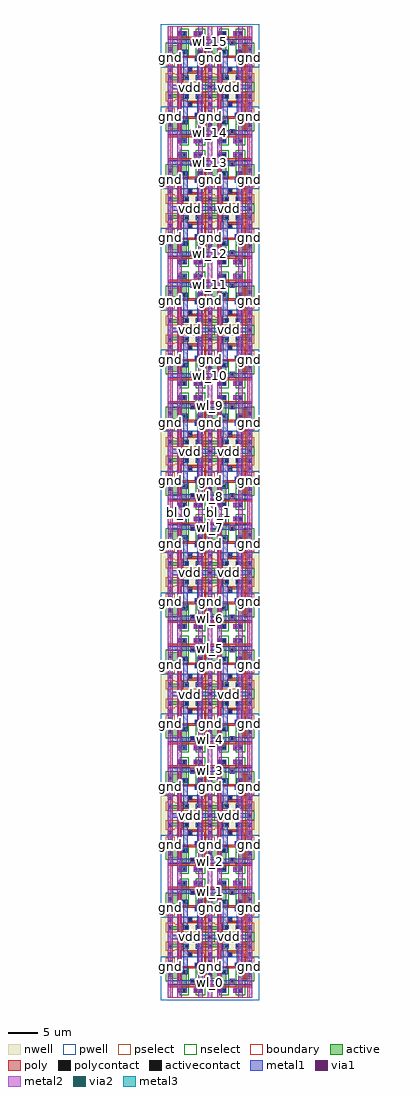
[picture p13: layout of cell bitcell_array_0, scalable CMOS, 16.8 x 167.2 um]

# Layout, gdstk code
import gdstk
lib = gdstk.Library(unit=1e-6, precision=1e-09)
def R(c, l, rs):  # rectangles x0, y0, x1, y1
    for r in rs: c.add(gdstk.rectangle(r[:2], r[2:], *l))
def A(c, l, x, y, w, h, nx, ny, dx, dy):  # array of equal rectangles
    R(c, l, [(x+i*dx, y+j*dy, x+i*dx+w, y+j*dy+h) for i in range(nx) for j in range(ny)])
pwell = (41, 0)
nwell = (42, 0)
active = (43, 0)
pselect = (44, 0)
nselect = (45, 0)
poly = (46, 0)
polycontact = (47, 0)
activecontact = (48, 0)
metal1 = (49, 0)
via1 = (50, 0)
metal2 = (51, 0)
via2 = (61, 0)
metal3 = (62, 0)
boundary = (63, 0)

cell_6t = lib.new_cell('cell_6t')
R(cell_6t, pwell, [(-1.6,-0.4,8.4,7)])
R(cell_6t, nwell, [(-1.6,7,8.4,11.4)])
A(cell_6t, active, 2.4, 8.4, 0.8, 0.2, 3, 1, 2, 0)
R(cell_6t, active, [(2,0.8,2.8,3.2), (4.8,0.8,5.6,3.2), (-0.4,3.2,2.8,4.8), (4.8,3.2,7.2,4.8), (-0.4,5.6,0.4,6.4), (6.4,5.6,7.2,6.4), (-0.4,8.4,0.4,8.6), (-0.4,8.6,3.2,9.2), (4.4,8.6,7.2,9.2), (6.4,10,7.2,10.8)])
R(cell_6t, pselect, [(-0.8,5.2,0.8,6.8), (6,5.2,7.6,6.8), (-0.8,8,0.8,8.2), (2,8,7.6,8.2), (-0.8,8.2,7.6,9.6)])
R(cell_6t, nselect, [(1.6,0.4,3.2,2.8), (4.4,0.4,6,2.8), (-0.8,2.8,3.2,5.2), (4.4,2.8,7.6,5.2), (6,9.6,7.6,11.2)])
R(cell_6t, poly, [(-0.4,1.8,7.2,2.2), (3.4,2.2,4.2,3.2), (1.4,2.8,1.8,5), (5.8,2.8,6.2,7.6), (1.4,5,4.8,5.2), (1.4,5.2,5,5.4), (1.4,5.4,1.8,8.2), (4.2,5.4,5,6), (3,7,3.8,7.6), (3,7.6,6.2,8), (5.4,8,6.2,9.6), (1.4,8.2,2.2,9.6)])
R(cell_6t, polycontact, [(3.6,2.6,4,3), (4.4,5.4,4.8,5.8), (3.2,7.2,3.6,7.6)])
A(cell_6t, activecontact, 2.6, 8.6, 0.4, 0.4, 3, 1, 2, 0)
R(cell_6t, activecontact, [(2.2,1,2.6,1.4), (5,1,5.4,1.4), (-0.2,3.8,0.2,4.2), (6.6,3.8,7,4.2), (2.2,4.2,2.6,4.6), (5,4.2,5.4,4.6), (-0.2,5.8,0.2,6.2), (6.6,5.8,7,6.2), (-0.2,8.6,0.2,9), (6.6,10.2,7,10.6)])
R(cell_6t, metal1, [(1.2,0.8,2.8,1.6), (4,0.8,5.6,1.6), (-0.4,2.2,7.2,3), (-0.4,2.2,7.2,3), (3.4,3,4.2,3.2), (-0.4,3.6,0.4,7.8), (6.4,3.6,7.2,7.8), (2,4,3,4.8), (4.6,4,5.6,4.8), (2.2,4.8,3,7), (4.6,4.8,5.4,5.2), (4.2,5.2,5.4,6), (4.6,6,5.4,8.4), (2.2,7,3.8,7.8), (2.2,7.8,3,8.4), (-0.4,8.4,0.4,10), (2.2,8.4,3.2,9.2), (4.4,8.4,5.4,9.2), (6.4,8.4,7.2,10), (-0.4,10,7.2,10.8)])
R(cell_6t, via1, [(1.4,1,1.8,1.4), (4.2,1,4.6,1.4), (-0.2,7.2,0.2,7.6), (6.6,7.2,7,7.6), (3.2,10.2,3.6,10.6)])
R(cell_6t, metal2, [(-0.4,0,0.4,10.8), (-0.4,0,0.4,10.8), (1.2,0,2,10.8), (1.2,0,2,10.8), (4.8,0,5.6,0.8), (6.4,0,7.2,10.8), (6.4,0,7.2,10.8), (4,0.8,5.6,1.6), (4.8,1.6,5.6,10.8), (4.8,1.6,5.6,10.8), (3,10,3.8,10.8), (3,10,3.8,10.8)])
R(cell_6t, boundary, [(0,0,6.8,10.4)])
cell_6t.add(gdstk.Label('gnd', (0,1.2), layer=51, texttype=0))
cell_6t.add(gdstk.Label('gnd', (6.8,1.2), layer=51, texttype=0))
cell_6t.add(gdstk.Label('vdd', (3.4,10.4), layer=51, texttype=0))
cell_6t.add(gdstk.Label('bl', (1.6,9.8), layer=51, texttype=0))
cell_6t.add(gdstk.Label('br', (5.2,9.8), layer=51, texttype=0))
cell_6t.add(gdstk.Label('wl', (0.8,2.6), layer=49, texttype=0))
cell_6t.add(gdstk.Label('bl', (1.6,5.4), layer=51, texttype=0))
cell_6t.add(gdstk.Label('br', (5.2,6.2), layer=51, texttype=0))
cell_6t.add(gdstk.Label('wl', (3.4,2.6), layer=49, texttype=0))
cell_6t.add(gdstk.Label('vdd', (3.4,10.4), layer=51, texttype=0))
cell_6t.add(gdstk.Label('gnd', (0,5.4), layer=51, texttype=0))
cell_6t.add(gdstk.Label('gnd', (6.8,5.4), layer=51, texttype=0))

contact_15 = lib.new_cell('contact_15')
R(contact_15, metal2, [(0,0,0.8,0.8)])
R(contact_15, via2, [(0.2,0.2,0.6,0.6)])
R(contact_15, metal3, [(0,0,0.8,0.8)])

bitcell_array_0 = lib.new_cell('bitcell_array_0')
R(bitcell_array_0, metal1, [(0,2.2,13.6,3), (0,17.8,13.6,18.6), (0,23,13.6,23.8), (0,38.6,13.6,39.4), (0,43.8,13.6,44.6), (0,59.4,13.6,60.2), (0,64.6,13.6,65.4), (0,80.2,13.6,81), (0,85.4,13.6,86.2), (0,101,13.6,101.8), (0,106.2,13.6,107), (0,121.8,13.6,122.6), (0,127,13.6,127.8), (0,142.6,13.6,143.4), (0,147.8,13.6,148.6), (0,163.4,13.6,164.2)])
R(bitcell_array_0, metal2, [(1.2,0,2,166.4), (4.8,0,5.6,166.4), (8,0,8.8,166.4), (11.6,0,12.4,166.4)])
A(bitcell_array_0, metal3, -0.4, 5, 0.8, 0.8, 3, 2, 6.8, 10)
A(bitcell_array_0, metal3, 3, 10, 0.8, 0.8, 1, 3, 0, 20.8)
A(bitcell_array_0, metal3, 9.8, 10, 0.8, 0.8, 1, 3, 0, 20.8)
A(bitcell_array_0, metal3, -0.4, 25.8, 0.8, 0.8, 3, 2, 6.8, 10)
A(bitcell_array_0, metal3, -0.4, 46.6, 0.8, 0.8, 3, 2, 6.8, 10)
A(bitcell_array_0, metal3, 3, 51.6, 0.8, 0.8, 1, 5, 0, 20.8)
A(bitcell_array_0, metal3, 9.8, 51.6, 0.8, 0.8, 1, 5, 0, 20.8)
A(bitcell_array_0, metal3, -0.4, 67.4, 0.8, 0.8, 3, 2, 6.8, 10)
A(bitcell_array_0, metal3, -0.4, 88.2, 0.8, 0.8, 3, 2, 6.8, 10)
A(bitcell_array_0, metal3, -0.4, 109, 0.8, 0.8, 3, 2, 6.8, 10)
A(bitcell_array_0, metal3, -0.4, 129.8, 0.8, 0.8, 3, 2, 6.8, 10)
A(bitcell_array_0, metal3, -0.4, 150.6, 0.8, 0.8, 3, 2, 6.8, 10)
R(bitcell_array_0, metal3, [(3,134.8,3.8,135.6), (9.8,134.8,10.6,135.6), (3,155.6,3.8,156.4), (9.8,155.6,10.6,156.4)])
R(bitcell_array_0, boundary, [(0,0,13.6,166.4)])
bitcell_array_0.add(gdstk.Reference(cell_6t, (0,0)))
bitcell_array_0.add(gdstk.Reference(cell_6t, (0,20.8), x_reflection=True))
bitcell_array_0.add(gdstk.Reference(cell_6t, (0,20.8)))
bitcell_array_0.add(gdstk.Reference(cell_6t, (0,41.6), x_reflection=True))
bitcell_array_0.add(gdstk.Reference(cell_6t, (0,41.6)))
bitcell_array_0.add(gdstk.Reference(cell_6t, (0,62.4), x_reflection=True))
bitcell_array_0.add(gdstk.Reference(cell_6t, (0,62.4)))
bitcell_array_0.add(gdstk.Reference(cell_6t, (0,83.2), x_reflection=True))
bitcell_array_0.add(gdstk.Reference(cell_6t, (0,83.2)))
bitcell_array_0.add(gdstk.Reference(cell_6t, (0,104), x_reflection=True))
bitcell_array_0.add(gdstk.Reference(cell_6t, (0,104)))
bitcell_array_0.add(gdstk.Reference(cell_6t, (0,124.8), x_reflection=True))
bitcell_array_0.add(gdstk.Reference(cell_6t, (0,124.8)))
bitcell_array_0.add(gdstk.Reference(cell_6t, (0,145.6), x_reflection=True))
bitcell_array_0.add(gdstk.Reference(cell_6t, (0,145.6)))
bitcell_array_0.add(gdstk.Reference(cell_6t, (0,166.4), x_reflection=True))
bitcell_array_0.add(gdstk.Reference(cell_6t, (6.8,0)))
bitcell_array_0.add(gdstk.Reference(cell_6t, (6.8,20.8), x_reflection=True))
bitcell_array_0.add(gdstk.Reference(cell_6t, (6.8,20.8)))
bitcell_array_0.add(gdstk.Reference(cell_6t, (6.8,41.6), x_reflection=True))
bitcell_array_0.add(gdstk.Reference(cell_6t, (6.8,41.6)))
bitcell_array_0.add(gdstk.Reference(cell_6t, (6.8,62.4), x_reflection=True))
bitcell_array_0.add(gdstk.Reference(cell_6t, (6.8,62.4)))
bitcell_array_0.add(gdstk.Reference(cell_6t, (6.8,83.2), x_reflection=True))
bitcell_array_0.add(gdstk.Reference(cell_6t, (6.8,83.2)))
bitcell_array_0.add(gdstk.Reference(cell_6t, (6.8,104), x_reflection=True))
bitcell_array_0.add(gdstk.Reference(cell_6t, (6.8,104)))
bitcell_array_0.add(gdstk.Reference(cell_6t, (6.8,124.8), x_reflection=True))
bitcell_array_0.add(gdstk.Reference(cell_6t, (6.8,124.8)))
bitcell_array_0.add(gdstk.Reference(cell_6t, (6.8,145.6), x_reflection=True))
bitcell_array_0.add(gdstk.Reference(cell_6t, (6.8,145.6)))
bitcell_array_0.add(gdstk.Reference(cell_6t, (6.8,166.4), x_reflection=True))
bitcell_array_0.add(gdstk.Reference(contact_15, (3,10)))
bitcell_array_0.add(gdstk.Reference(contact_15, (-0.4,5)))
bitcell_array_0.add(gdstk.Reference(contact_15, (6.4,5)))
bitcell_array_0.add(gdstk.Reference(contact_15, (9.8,10)))
bitcell_array_0.add(gdstk.Reference(contact_15, (6.4,5)))
bitcell_array_0.add(gdstk.Reference(contact_15, (13.2,5)))
bitcell_array_0.add(gdstk.Reference(contact_15, (3,10)))
bitcell_array_0.add(gdstk.Reference(contact_15, (-0.4,15)))
bitcell_array_0.add(gdstk.Reference(contact_15, (6.4,15)))
bitcell_array_0.add(gdstk.Reference(contact_15, (9.8,10)))
bitcell_array_0.add(gdstk.Reference(contact_15, (6.4,15)))
bitcell_array_0.add(gdstk.Reference(contact_15, (13.2,15)))
bitcell_array_0.add(gdstk.Reference(contact_15, (3,30.8)))
bitcell_array_0.add(gdstk.Reference(contact_15, (-0.4,25.8)))
bitcell_array_0.add(gdstk.Reference(contact_15, (6.4,25.8)))
bitcell_array_0.add(gdstk.Reference(contact_15, (9.8,30.8)))
bitcell_array_0.add(gdstk.Reference(contact_15, (6.4,25.8)))
bitcell_array_0.add(gdstk.Reference(contact_15, (13.2,25.8)))
bitcell_array_0.add(gdstk.Reference(contact_15, (3,30.8)))
bitcell_array_0.add(gdstk.Reference(contact_15, (-0.4,35.8)))
bitcell_array_0.add(gdstk.Reference(contact_15, (6.4,35.8)))
bitcell_array_0.add(gdstk.Reference(contact_15, (9.8,30.8)))
bitcell_array_0.add(gdstk.Reference(contact_15, (6.4,35.8)))
bitcell_array_0.add(gdstk.Reference(contact_15, (13.2,35.8)))
bitcell_array_0.add(gdstk.Reference(contact_15, (3,51.6)))
bitcell_array_0.add(gdstk.Reference(contact_15, (-0.4,46.6)))
bitcell_array_0.add(gdstk.Reference(contact_15, (6.4,46.6)))
bitcell_array_0.add(gdstk.Reference(contact_15, (9.8,51.6)))
bitcell_array_0.add(gdstk.Reference(contact_15, (6.4,46.6)))
bitcell_array_0.add(gdstk.Reference(contact_15, (13.2,46.6)))
bitcell_array_0.add(gdstk.Reference(contact_15, (3,51.6)))
bitcell_array_0.add(gdstk.Reference(contact_15, (-0.4,56.6)))
bitcell_array_0.add(gdstk.Reference(contact_15, (6.4,56.6)))
bitcell_array_0.add(gdstk.Reference(contact_15, (9.8,51.6)))
bitcell_array_0.add(gdstk.Reference(contact_15, (6.4,56.6)))
bitcell_array_0.add(gdstk.Reference(contact_15, (13.2,56.6)))
bitcell_array_0.add(gdstk.Reference(contact_15, (3,72.4)))
bitcell_array_0.add(gdstk.Reference(contact_15, (-0.4,67.4)))
bitcell_array_0.add(gdstk.Reference(contact_15, (6.4,67.4)))
bitcell_array_0.add(gdstk.Reference(contact_15, (9.8,72.4)))
bitcell_array_0.add(gdstk.Reference(contact_15, (6.4,67.4)))
bitcell_array_0.add(gdstk.Reference(contact_15, (13.2,67.4)))
bitcell_array_0.add(gdstk.Reference(contact_15, (3,72.4)))
bitcell_array_0.add(gdstk.Reference(contact_15, (-0.4,77.4)))
bitcell_array_0.add(gdstk.Reference(contact_15, (6.4,77.4)))
bitcell_array_0.add(gdstk.Reference(contact_15, (9.8,72.4)))
bitcell_array_0.add(gdstk.Reference(contact_15, (6.4,77.4)))
bitcell_array_0.add(gdstk.Reference(contact_15, (13.2,77.4)))
bitcell_array_0.add(gdstk.Reference(contact_15, (3,93.2)))
bitcell_array_0.add(gdstk.Reference(contact_15, (-0.4,88.2)))
bitcell_array_0.add(gdstk.Reference(contact_15, (6.4,88.2)))
bitcell_array_0.add(gdstk.Reference(contact_15, (9.8,93.2)))
bitcell_array_0.add(gdstk.Reference(contact_15, (6.4,88.2)))
bitcell_array_0.add(gdstk.Reference(contact_15, (13.2,88.2)))
bitcell_array_0.add(gdstk.Reference(contact_15, (3,93.2)))
bitcell_array_0.add(gdstk.Reference(contact_15, (-0.4,98.2)))
bitcell_array_0.add(gdstk.Reference(contact_15, (6.4,98.2)))
bitcell_array_0.add(gdstk.Reference(contact_15, (9.8,93.2)))
bitcell_array_0.add(gdstk.Reference(contact_15, (6.4,98.2)))
bitcell_array_0.add(gdstk.Reference(contact_15, (13.2,98.2)))
bitcell_array_0.add(gdstk.Reference(contact_15, (3,114)))
bitcell_array_0.add(gdstk.Reference(contact_15, (-0.4,109)))
bitcell_array_0.add(gdstk.Reference(contact_15, (6.4,109)))
bitcell_array_0.add(gdstk.Reference(contact_15, (9.8,114)))
bitcell_array_0.add(gdstk.Reference(contact_15, (6.4,109)))
bitcell_array_0.add(gdstk.Reference(contact_15, (13.2,109)))
bitcell_array_0.add(gdstk.Reference(contact_15, (3,114)))
bitcell_array_0.add(gdstk.Reference(contact_15, (-0.4,119)))
bitcell_array_0.add(gdstk.Reference(contact_15, (6.4,119)))
bitcell_array_0.add(gdstk.Reference(contact_15, (9.8,114)))
bitcell_array_0.add(gdstk.Reference(contact_15, (6.4,119)))
bitcell_array_0.add(gdstk.Reference(contact_15, (13.2,119)))
bitcell_array_0.add(gdstk.Reference(contact_15, (3,134.8)))
bitcell_array_0.add(gdstk.Reference(contact_15, (-0.4,129.8)))
bitcell_array_0.add(gdstk.Reference(contact_15, (6.4,129.8)))
bitcell_array_0.add(gdstk.Reference(contact_15, (9.8,134.8)))
bitcell_array_0.add(gdstk.Reference(contact_15, (6.4,129.8)))
bitcell_array_0.add(gdstk.Reference(contact_15, (13.2,129.8)))
bitcell_array_0.add(gdstk.Reference(contact_15, (3,134.8)))
bitcell_array_0.add(gdstk.Reference(contact_15, (-0.4,139.8)))
bitcell_array_0.add(gdstk.Reference(contact_15, (6.4,139.8)))
bitcell_array_0.add(gdstk.Reference(contact_15, (9.8,134.8)))
bitcell_array_0.add(gdstk.Reference(contact_15, (6.4,139.8)))
bitcell_array_0.add(gdstk.Reference(contact_15, (13.2,139.8)))
bitcell_array_0.add(gdstk.Reference(contact_15, (3,155.6)))
bitcell_array_0.add(gdstk.Reference(contact_15, (-0.4,150.6)))
bitcell_array_0.add(gdstk.Reference(contact_15, (6.4,150.6)))
bitcell_array_0.add(gdstk.Reference(contact_15, (9.8,155.6)))
bitcell_array_0.add(gdstk.Reference(contact_15, (6.4,150.6)))
bitcell_array_0.add(gdstk.Reference(contact_15, (13.2,150.6)))
bitcell_array_0.add(gdstk.Reference(contact_15, (3,155.6)))
bitcell_array_0.add(gdstk.Reference(contact_15, (-0.4,160.6)))
bitcell_array_0.add(gdstk.Reference(contact_15, (6.4,160.6)))
bitcell_array_0.add(gdstk.Reference(contact_15, (9.8,155.6)))
bitcell_array_0.add(gdstk.Reference(contact_15, (6.4,160.6)))
bitcell_array_0.add(gdstk.Reference(contact_15, (13.2,160.6)))
bitcell_array_0.add(gdstk.Label('bl_0', (1.6,83.2), layer=51, texttype=0))
bitcell_array_0.add(gdstk.Label('br_0', (5.2,83.2), layer=51, texttype=0))
bitcell_array_0.add(gdstk.Label('bl_1', (8.4,83.2), layer=51, texttype=0))
bitcell_array_0.add(gdstk.Label('br_1', (12,83.2), layer=51, texttype=0))
bitcell_array_0.add(gdstk.Label('wl_0', (6.8,2.6), layer=49, texttype=0))
bitcell_array_0.add(gdstk.Label('wl_1', (6.8,18.2), layer=49, texttype=0))
bitcell_array_0.add(gdstk.Label('wl_2', (6.8,23.4), layer=49, texttype=0))
bitcell_array_0.add(gdstk.Label('wl_3', (6.8,39), layer=49, texttype=0))
bitcell_array_0.add(gdstk.Label('wl_4', (6.8,44.2), layer=49, texttype=0))
bitcell_array_0.add(gdstk.Label('wl_5', (6.8,59.8), layer=49, texttype=0))
bitcell_array_0.add(gdstk.Label('wl_6', (6.8,65), layer=49, texttype=0))
bitcell_array_0.add(gdstk.Label('wl_7', (6.8,80.6), layer=49, texttype=0))
bitcell_array_0.add(gdstk.Label('wl_8', (6.8,85.8), layer=49, texttype=0))
bitcell_array_0.add(gdstk.Label('wl_9', (6.8,101.4), layer=49, texttype=0))
bitcell_array_0.add(gdstk.Label('wl_10', (6.8,106.6), layer=49, texttype=0))
bitcell_array_0.add(gdstk.Label('wl_11', (6.8,122.2), layer=49, texttype=0))
bitcell_array_0.add(gdstk.Label('wl_12', (6.8,127.4), layer=49, texttype=0))
bitcell_array_0.add(gdstk.Label('wl_13', (6.8,143), layer=49, texttype=0))
bitcell_array_0.add(gdstk.Label('wl_14', (6.8,148.2), layer=49, texttype=0))
bitcell_array_0.add(gdstk.Label('wl_15', (6.8,163.8), layer=49, texttype=0))
bitcell_array_0.add(gdstk.Label('vdd', (3.4,31.2), layer=62, texttype=0))
bitcell_array_0.add(gdstk.Label('vdd', (3.4,10.4), layer=62, texttype=0))
bitcell_array_0.add(gdstk.Label('vdd', (10.2,52), layer=62, texttype=0))
bitcell_array_0.add(gdstk.Label('vdd', (10.2,52), layer=62, texttype=0))
bitcell_array_0.add(gdstk.Label('vdd', (10.2,72.8), layer=62, texttype=0))
bitcell_array_0.add(gdstk.Label('vdd', (10.2,93.6), layer=62, texttype=0))
bitcell_array_0.add(gdstk.Label('vdd', (10.2,10.4), layer=62, texttype=0))
bitcell_array_0.add(gdstk.Label('vdd', (10.2,135.2), layer=62, texttype=0))
bitcell_array_0.add(gdstk.Label('vdd', (10.2,135.2), layer=62, texttype=0))
bitcell_array_0.add(gdstk.Label('vdd', (10.2,156), layer=62, texttype=0))
bitcell_array_0.add(gdstk.Label('vdd', (3.4,156), layer=62, texttype=0))
bitcell_array_0.add(gdstk.Label('vdd', (3.4,52), layer=62, texttype=0))
bitcell_array_0.add(gdstk.Label('vdd', (3.4,52), layer=62, texttype=0))
bitcell_array_0.add(gdstk.Label('vdd', (10.2,114.4), layer=62, texttype=0))
bitcell_array_0.add(gdstk.Label('vdd', (3.4,135.2), layer=62, texttype=0))
bitcell_array_0.add(gdstk.Label('vdd', (3.4,114.4), layer=62, texttype=0))
bitcell_array_0.add(gdstk.Label('vdd', (3.4,72.8), layer=62, texttype=0))
bitcell_array_0.add(gdstk.Label('vdd', (3.4,135.2), layer=62, texttype=0))
bitcell_array_0.add(gdstk.Label('vdd', (3.4,93.6), layer=62, texttype=0))
bitcell_array_0.add(gdstk.Label('vdd', (10.2,31.2), layer=62, texttype=0))
bitcell_array_0.add(gdstk.Label('gnd', (13.6,5.4), layer=62, texttype=0))
bitcell_array_0.add(gdstk.Label('gnd', (6.8,47), layer=62, texttype=0))
bitcell_array_0.add(gdstk.Label('gnd', (0,15.4), layer=62, texttype=0))
bitcell_array_0.add(gdstk.Label('gnd', (6.8,161), layer=62, texttype=0))
bitcell_array_0.add(gdstk.Label('gnd', (6.8,151), layer=62, texttype=0))
bitcell_array_0.add(gdstk.Label('gnd', (0,98.6), layer=62, texttype=0))
bitcell_array_0.add(gdstk.Label('gnd', (0,67.8), layer=62, texttype=0))
bitcell_array_0.add(gdstk.Label('gnd', (6.8,109.4), layer=62, texttype=0))
bitcell_array_0.add(gdstk.Label('gnd', (6.8,140.2), layer=62, texttype=0))
bitcell_array_0.add(gdstk.Label('gnd', (13.6,161), layer=62, texttype=0))
bitcell_array_0.add(gdstk.Label('gnd', (13.6,109.4), layer=62, texttype=0))
bitcell_array_0.add(gdstk.Label('gnd', (0,119.4), layer=62, texttype=0))
bitcell_array_0.add(gdstk.Label('gnd', (6.8,77.8), layer=62, texttype=0))
bitcell_array_0.add(gdstk.Label('gnd', (6.8,15.4), layer=62, texttype=0))
bitcell_array_0.add(gdstk.Label('gnd', (13.6,98.6), layer=62, texttype=0))
bitcell_array_0.add(gdstk.Label('gnd', (0,109.4), layer=62, texttype=0))
bitcell_array_0.add(gdstk.Label('gnd', (13.6,77.8), layer=62, texttype=0))
bitcell_array_0.add(gdstk.Label('gnd', (13.6,47), layer=62, texttype=0))
bitcell_array_0.add(gdstk.Label('gnd', (6.8,36.2), layer=62, texttype=0))
bitcell_array_0.add(gdstk.Label('gnd', (0,36.2), layer=62, texttype=0))
bitcell_array_0.add(gdstk.Label('gnd', (0,5.4), layer=62, texttype=0))
bitcell_array_0.add(gdstk.Label('gnd', (0,57), layer=62, texttype=0))
bitcell_array_0.add(gdstk.Label('gnd', (6.8,57), layer=62, texttype=0))
bitcell_array_0.add(gdstk.Label('gnd', (0,130.2), layer=62, texttype=0))
bitcell_array_0.add(gdstk.Label('gnd', (13.6,130.2), layer=62, texttype=0))
bitcell_array_0.add(gdstk.Label('gnd', (6.8,26.2), layer=62, texttype=0))
bitcell_array_0.add(gdstk.Label('gnd', (6.8,98.6), layer=62, texttype=0))
bitcell_array_0.add(gdstk.Label('gnd', (0,151), layer=62, texttype=0))
bitcell_array_0.add(gdstk.Label('gnd', (13.6,57), layer=62, texttype=0))
bitcell_array_0.add(gdstk.Label('gnd', (13.6,119.4), layer=62, texttype=0))
bitcell_array_0.add(gdstk.Label('gnd', (0,161), layer=62, texttype=0))
bitcell_array_0.add(gdstk.Label('gnd', (0,26.2), layer=62, texttype=0))
bitcell_array_0.add(gdstk.Label('gnd', (13.6,88.6), layer=62, texttype=0))
bitcell_array_0.add(gdstk.Label('gnd', (13.6,15.4), layer=62, texttype=0))
bitcell_array_0.add(gdstk.Label('gnd', (13.6,26.2), layer=62, texttype=0))
bitcell_array_0.add(gdstk.Label('gnd', (6.8,130.2), layer=62, texttype=0))
bitcell_array_0.add(gdstk.Label('gnd', (13.6,67.8), layer=62, texttype=0))
bitcell_array_0.add(gdstk.Label('gnd', (0,47), layer=62, texttype=0))
bitcell_array_0.add(gdstk.Label('gnd', (6.8,88.6), layer=62, texttype=0))
bitcell_array_0.add(gdstk.Label('gnd', (0,140.2), layer=62, texttype=0))
bitcell_array_0.add(gdstk.Label('gnd', (0,77.8), layer=62, texttype=0))
bitcell_array_0.add(gdstk.Label('gnd', (0,88.6), layer=62, texttype=0))
bitcell_array_0.add(gdstk.Label('gnd', (13.6,151), layer=62, texttype=0))
bitcell_array_0.add(gdstk.Label('gnd', (6.8,5.4), layer=62, texttype=0))
bitcell_array_0.add(gdstk.Label('gnd', (13.6,140.2), layer=62, texttype=0))
bitcell_array_0.add(gdstk.Label('gnd', (6.8,67.8), layer=62, texttype=0))
bitcell_array_0.add(gdstk.Label('gnd', (13.6,36.2), layer=62, texttype=0))
bitcell_array_0.add(gdstk.Label('gnd', (6.8,119.4), layer=62, texttype=0))

lib.write_gds('bitcell_array_0.gds')
